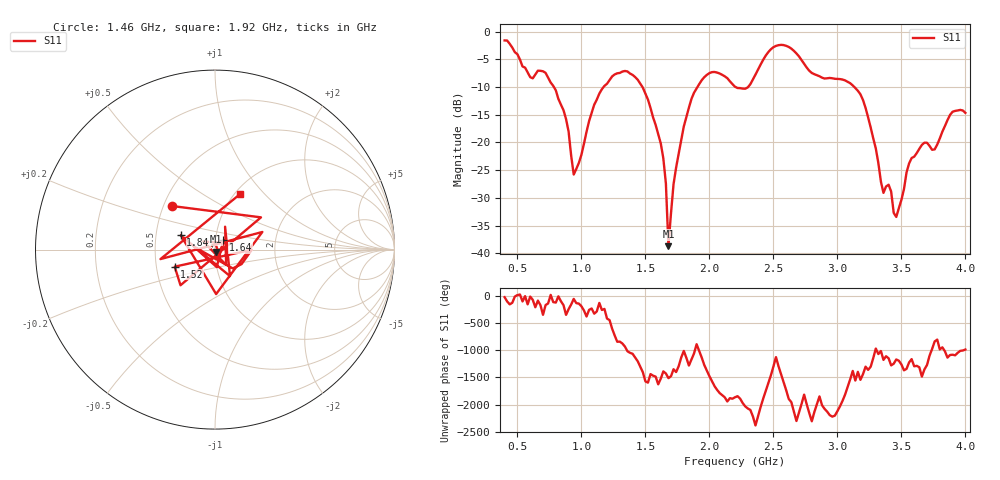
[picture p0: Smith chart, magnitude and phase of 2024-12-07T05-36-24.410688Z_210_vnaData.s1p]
!Created with skrf (http://scikit-rf.org).
# Hz S RI R 50.0
!freq ReS11 ImS11
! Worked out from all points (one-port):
!   181 points, 400 MHz to 4 GHz, reference 50 ohm
!   lowest |S11| = -38.7 dB at 1.68 GHz (marker M1), VSWR 1.02, Z = 50.3 - j1.12 ohm
!   |S11| at or under -10 dB: 785.5 MHz to 1.173 GHz (387 MHz wide, 39.5 % of centre); 1.478 GHz to 1.906 GHz (428.3 MHz wide, 25.3 % of centre); 3.133 GHz to end of sweep (the widest 3 of 4)
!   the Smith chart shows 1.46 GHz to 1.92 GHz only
!   S11 on the Smith chart (normalised r, x): 1.46 GHz: 0.56, +0.30; 1.52 GHz: 0.62, -0.13; 1.64 GHz: 1.09, +0.12; 1.84 GHz: 0.67, +0.11; 1.92 GHz: 1.06, +0.73
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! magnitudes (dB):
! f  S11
! 400 MHz  -1.6
! 600 MHz  -8.2
! 720 MHz  -7.4
! 860 MHz  -14.2
! 940 MHz  -25.8
! 1.1 GHz  -13.2
! 1.3 GHz  -7.4
! 1.46 GHz  -9.4
! 1.52 GHz  -12.3
! 1.64 GHz  -22.9
! 1.66 GHz  -27.4
! 1.68 GHz  -38.7
! 1.72 GHz  -27.5
! 1.76 GHz  -22.0
! 1.84 GHz  -13.7
! 1.92 GHz  -9.5
! 2.04 GHz  -7.3
! 2.2 GHz  -9.9
! 2.3 GHz  -10.0
! 2.5 GHz  -2.8
! 2.66 GHz  -3.4
! 3.1 GHz  -9.3
! 3.2 GHz  -12.3
! 3.36 GHz  -29.1
! 3.4 GHz  -27.6
! 3.46 GHz  -33.4
! 3.56 GHz  -23.8
! 4 GHz  -14.6
